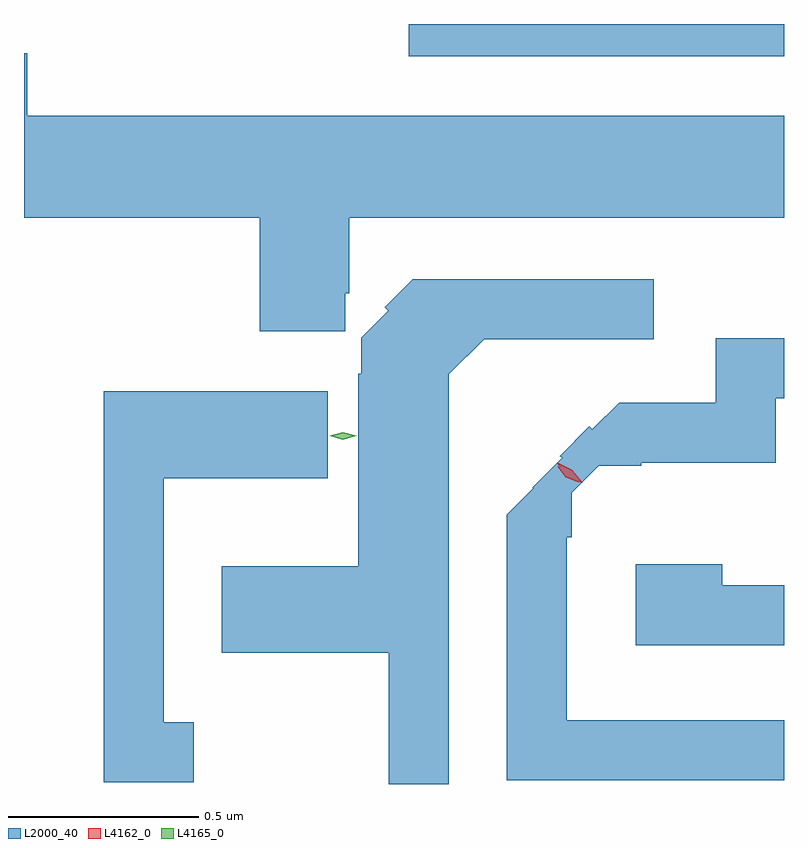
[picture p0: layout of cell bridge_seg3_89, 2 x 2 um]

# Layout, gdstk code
import gdstk
lib = gdstk.Library(unit=1e-6, precision=1e-09)
def R(c, l, rs):  # rectangles x0, y0, x1, y1
    for r in rs: c.add(gdstk.rectangle(r[:2], r[2:], *l))
def P(c, l, *ps):  # polygons
    for p in ps: c.add(gdstk.Polygon(p, *l))
L2000_40 = (2000, 40)
L4162_0 = (4162, 0)
L4165_0 = (4165, 0)

bridge_seg3_89 = lib.new_cell('bridge_seg3_89')
R(bridge_seg3_89, L2000_40, [(1139.823,1184.161,1140.811,1184.246)])
P(bridge_seg3_89, L2000_40, [(1139.657,1183.537),(1139.667,1183.537),(1139.667,1183.736),(1140.811,1183.736),(1140.811,1184.004),(1138.819,1184.004),(1138.819,1184.169),(1138.811,1184.169),(1138.811,1183.736),(1139.431,1183.736),(1139.431,1183.437),(1139.657,1183.437)],
  [(1139.929,1183.324),(1140.022,1183.416),(1140.468,1183.416),(1140.468,1183.574),(1139.834,1183.574),(1139.76,1183.5),(1139.769,1183.491),(1139.698,1183.42),(1139.698,1183.326),(1139.69,1183.326),(1139.69,1182.819),(1139.331,1182.819),(1139.331,1182.591),(1139.771,1182.591),(1139.771,1182.246),(1139.929,1182.246)],
  [(1140.811,1182.414),(1140.239,1182.414),(1140.239,1182.895),(1140.253,1182.895),(1140.253,1183.013),(1140.324,1183.084),(1140.435,1183.084),(1140.435,1183.091),(1140.789,1183.091),(1140.789,1183.261),(1140.811,1183.261),(1140.811,1183.419),(1140.631,1183.419),(1140.631,1183.249),(1140.378,1183.249),(1140.307,1183.179),(1140.299,1183.187),(1140.221,1183.109),(1140.227,1183.104),(1140.149,1183.026),(1140.151,1183.024),(1140.081,1182.955),(1140.081,1182.256),(1140.811,1182.256)],
  [(1139.258,1182.409),(1139.179,1182.409),(1139.179,1183.051),(1139.61,1183.051),(1139.61,1183.279),(1139.021,1183.279),(1139.021,1182.251),(1139.258,1182.251)],
  [(1140.811,1182.769),(1140.649,1182.769),(1140.649,1182.824),(1140.421,1182.824),(1140.421,1182.611),(1140.811,1182.611)])
P(bridge_seg3_89, L4162_0, [(1140.279,1183.039),(1140.241,1183.057),(1140.214,1183.09),(1140.214,1183.091),(1140.215,1183.091),(1140.253,1183.073),(1140.28,1183.04),(1140.28,1183.039)],
  [(1140.27,1183.04),(1140.237,1183.053),(1140.216,1183.081),(1140.216,1183.082),(1140.216,1183.082),(1140.25,1183.068),(1140.271,1183.04),(1140.271,1183.04)])
P(bridge_seg3_89, L4165_0, [(1139.65,1183.152),(1139.616,1183.162),(1139.615,1183.162),(1139.616,1183.163),(1139.65,1183.172),(1139.685,1183.163),(1139.686,1183.162),(1139.685,1183.162)],
  [(1139.65,1183.152),(1139.618,1183.162),(1139.617,1183.162),(1139.618,1183.163),(1139.65,1183.172),(1139.683,1183.163),(1139.684,1183.162),(1139.683,1183.162)])

lib.write_gds('bridge_seg3_89.gds')
